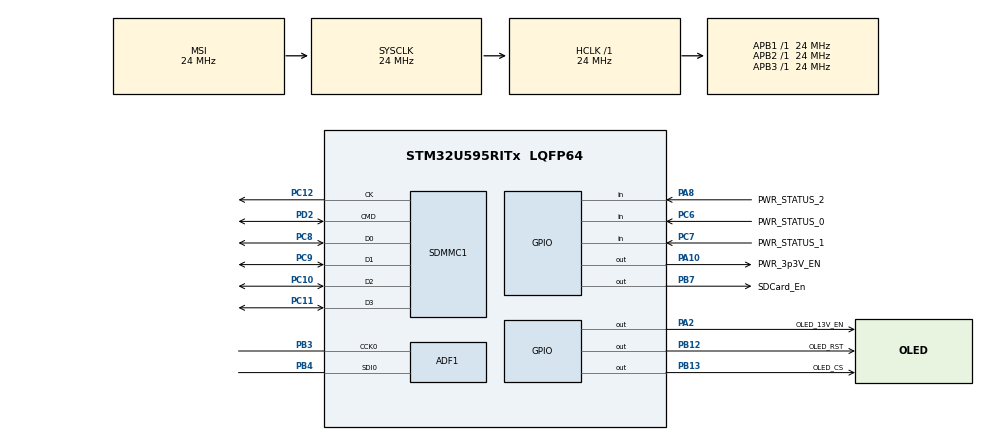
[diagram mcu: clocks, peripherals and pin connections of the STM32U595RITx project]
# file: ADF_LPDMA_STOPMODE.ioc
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ADF1.MDF_COMPARAM_ActivationOutputClock=ENABLE
ADF1.MDF_COMPARAM_Divider=2
ADF1.MDF_DFLT0_CIC_Mode=MDF_ONE_FILTER_SINC5
ADF1.MDF_DFLT0_Decimation=24
ADF1.MDF_DFLT0_Gain=8
ADF1.MDF_DFLT0_HighPassFilterActivation=ENABLE
ADF1.MDF_DFLT0_ReshapeFilterActivation=ENABLE
ADF1.MDF_SITF0_Mode_Display=MDF_SITF_NORMAL_SPI_MODE
ADF1.MDF_SITF0_Threshold=31
CORTEX_M33_NS.userName=CORTEX_M33
LPDMA1.LINKEDLISTMODE_LPDMACH0=DMA_LINKEDLIST_CIRCULAR
LPDMA1.PRIORITY_LL_LPDMACH0=DMA_LOW_PRIORITY_HIGH_WEIGHT
Linkedlist.MDMA_Channel0.GP_SW.0.BlkHWRequest=DMA_BREQ_SINGLE_BURST
Linkedlist.MDMA_Channel0.GP_SW.0.DataHandling=NONE
Linkedlist.MDMA_Channel0.GP_SW.0.DataSize=0
Linkedlist.MDMA_Channel0.GP_SW.0.DestDataWidth=DMA_DEST_DATAWIDTH_HALFWORD
Linkedlist.MDMA_Channel0.GP_SW.0.DestInc=DMA_DINC_INCREMENTED
Linkedlist.MDMA_Channel0.GP_SW.0.Direction=DMA_PERIPH_TO_MEMORY
Linkedlist.MDMA_Channel0.GP_SW.0.DstAddress=0
Linkedlist.MDMA_Channel0.GP_SW.0.Instance=MDMA_Channel0
Linkedlist.MDMA_Channel0.GP_SW.0.LL_CIRCULARNODE=MDFNode
Linkedlist.MDMA_Channel0.GP_SW.0.LL_MASTERDMA=LPDMA
Linkedlist.MDMA_Channel0.GP_SW.0.LL_NAME=MDFQueue
Linkedlist.MDMA_Channel0.GP_SW.0.LL_TYPE=CIRCULAR
Linkedlist.MDMA_Channel0.GP_SW.0.NODE_NAME=MDFNode
Linkedlist.MDMA_Channel0.GP_SW.0.Requestforcodegen=LPDMA1_REQUEST_ADF1_FLT0
Linkedlist.MDMA_Channel0.GP_SW.0.SrcAddress=0
Linkedlist.MDMA_Channel0.GP_SW.0.SrcDataWidth=DMA_SRC_DATAWIDTH_HALFWORD
Linkedlist.MDMA_Channel0.GP_SW.0.SrcInc=DMA_SINC_FIXED
Linkedlist.MDMA_Channel0.GP_SW.0.TransferEventMode=DMA_TCEM_BLOCK_TRANSFER
Linkedlist.MDMA_Channel0.GP_SW.0.TriggerPolarity=DMA_TRIG_POLARITY_MASKED
Linkedlist.MDMA_Channel0.Request0=GP_SW
Linkedlist.MDMA_Channel0.RequestsNb=1
Linkedlist.RequestSet0=MDMA_Channel0
Linkedlist.RequestSetsNb=1
Mcu.Family=STM32U5
Mcu.Name=STM32U595RITx
Mcu.Package=LQFP64
NVIC.ADF1_IRQn=true\:0\:0\:false\:false\:true\:true\:true\:true
NVIC.LPDMA1_Channel0_IRQn=true\:0\:0\:false\:false\:true\:false\:true\:true
NVIC.PriorityGroup=NVIC_PRIORITYGROUP_4
NVIC.SDMMC1_IRQn=true\:0\:0\:false\:false\:true\:true\:true\:true
PA10.GPIO_Label=PWR_3p3V_EN
PA10.PinState=GPIO_PIN_SET
PA10.Signal=GPIO_Output
PA13\ (JTMS/SWDIO).Mode=Serial_Wire
PA13\ (JTMS/SWDIO).Signal=DEBUG_JTMS-SWDIO
PA14\ (JTCK/SWCLK).Mode=Serial_Wire
PA14\ (JTCK/SWCLK).Signal=DEBUG_JTCK-SWCLK
PA2.GPIO_Label=OLED_13V_EN
PA2.Signal=GPIO_Output
PA8.GPIO_Label=PWR_STATUS_2
PA8.Signal=GPIO_Input
PB12.GPIO_Label=OLED_RST
PB12.Signal=GPIO_Output
PB13.GPIO_Label=OLED_CS
PB13.Signal=GPIO_Output
PB3\ (JTDO/TRACESWO).Mode=MOD_MDF_CCK0
PB3\ (JTDO/TRACESWO).Signal=ADF1_CCK0
PB4\ (NJTRST).Mode=MOD_ADF_CCK
PB4\ (NJTRST).Signal=ADF1_SDI0
PB7.GPIO_Label=SDCard_En
PB7.PinState=GPIO_PIN_SET
PB7.Signal=GPIO_Output
PC10.Mode=SD_4_bits_Wide_bus
PC10.Signal=SDMMC1_D2
PC11.Mode=SD_4_bits_Wide_bus
PC11.Signal=SDMMC1_D3
PC12.Mode=SD_4_bits_Wide_bus
PC12.Signal=SDMMC1_CK
PC14-OSC32_IN\ (PC14).Mode=LSE-External-Oscillator
PC14-OSC32_IN\ (PC14).Signal=RCC_OSC32_IN
PC15-OSC32_OUT\ (PC15).Mode=LSE-External-Oscillator
PC15-OSC32_OUT\ (PC15).Signal=RCC_OSC32_OUT
PC6.GPIO_Label=PWR_STATUS_0
PC6.Signal=GPIO_Input
PC7.GPIO_Label=PWR_STATUS_1
PC7.Signal=GPIO_Input
PC8.Mode=SD_4_bits_Wide_bus
PC8.Signal=SDMMC1_D0
PC9.Mode=SD_4_bits_Wide_bus
PC9.Signal=SDMMC1_D1
PD2.Mode=SD_4_bits_Wide_bus
PD2.Signal=SDMMC1_CMD
ProjectManager.HeapSize=0x2000
ProjectManager.StackSize=0x2000
ProjectManager.TargetToolchain=STM32CubeIDE
RCC.ADCFreq_Value=16000000
RCC.AHBFreq_Value=24000000
RCC.APB1Freq_Value=24000000
RCC.APB1TimFreq_Value=24000000
RCC.APB2Freq_Value=24000000
RCC.APB2TimFreq_Value=24000000
RCC.APB3Freq_Value=24000000
RCC.AdfClockSelection=RCC_ADF1CLKSOURCE_MSIK
RCC.CortexFreq_Value=24000000
RCC.EPOD_VALUE=24000000
RCC.HCLKFreq_Value=24000000
RCC.HSE_VALUE=16000000
RCC.HSI48_VALUE=48000000
RCC.HSI_VALUE=16000000
RCC.LSIDIV_VALUE=32000
RCC.MSIClockRange=RCC_MSIRANGE_1
RCC.MSIKClockRange=RCC_MSIKRANGE_8
RCC.MSI_VALUE=24000000
RCC.PLL1P=10
RCC.PLLM=2
RCC.PLLN=14
RCC.SYSCLKFreq_VALUE=24000000
RCC.VCOOutputFreq_Value=168000000
RCC.VDD_VALUE=1.8
SDMMC1.ClockDiv=5
VP_ICACHE_VS_ICACHE.Mode=DirectMappedCache
VP_LPBAMQUEUE_VS_QUEUE.Mode=QUEUEMODE
VP_LPBAM_VS_SIG1.Mode=SmartRun
VP_LPBAM_VS_SIG4.Mode=LPDMA1
VP_LPDMA1_VS_LPDMACH0.Mode=LINKEDLIST_LPDMACH0
VP_MEMORYMAP_VS_MEMORYMAP.Mode=CurAppReg
VP_PWR_VS_DBSignals.Mode=DisableDeadBatterySignals
VP_PWR_VS_LPOM.Mode=PowerOptimisation
VP_PWR_VS_SECSignals.Mode=Security/Privilege
VP_RCC_LSE.Mode=CRS SYNC Source LSE
board=custom

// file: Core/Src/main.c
/* USER CODE BEGIN Header */
/**
  ******************************************************************************
  * @file           : main.c
  * @brief          : Main program body
  ******************************************************************************
  * @attention
  *
  * Copyright (c) 2025 STMicroelectronics.
  * All rights reserved.
  *
  * This software is licensed under terms that can be found in the LICENSE file
  * in the root directory of this software component.
  * If no LICENSE file comes with this software, it is provided AS-IS.
  *
  ******************************************************************************
  */
/* USER CODE END Header */
#include "main.h"
#include "mdf.h"
#include "icache.h"
#include "lpdma.h"
#include "memorymap.h"
#include "sdmmc.h"
#include "gpio.h"

/* USER CODE BEGIN Includes */
#include "fatfs.h"
#include "linked_list.h"
/* USER CODE END Includes */

/* USER CODE BEGIN PTD */
extern SD_HandleTypeDef hsd1;
static char SD_Path[4];
static FATFS SDDISKFatFs;

uint32_t byteswritten;
FRESULT FatFsResult;

MDF_DmaConfigTypeDef         DMAConfig;

/*Buffer location and size should aligned to cache line size (32 bytes) */
__attribute__((section(".sram4"))) static uint16_t RecBuff[REC_BUFF_SIZE * 2U] = {0};
//int16_t        RecBuff[REC_BUFF_SIZE * 2U];
__IO uint32_t  DmaRecHalfBuffCplt  = 0;
__IO uint32_t  DmaRecBuffCplt      = 0;
uint32_t       PlaybackStarted         = 0;

__IO int16_t UpdatePointer = -1;
/* USER CODE END PTD */

/* USER CODE BEGIN PV */
static void MX_GPDMA1_DeInit(void);
/* USER CODE END PV */

void SystemClock_Config(void);
static void SystemPower_Config(void);
/* USER CODE BEGIN PFP */
void Error(void);
/* USER CODE END PFP */

/* USER CODE BEGIN 0 */
static void MDF_DMAConfig(void);
static void EnterLowPowerMode(void);
void Error(void);

extern DMA_QListTypeDef MDFQueue;
/* USER CODE END 0 */

int main(void)
{

  /* USER CODE BEGIN 1 */
	  FRESULT ReturnResult;
	  FIL MyFile;

	  int numberOfWrites = 128;
  /* USER CODE END 1 */

  /* MCU Configuration--------------------------------------------------------*/

  /* Reset of all peripherals, Initializes the Flash interface and the Systick. */
  HAL_Init();

  /* Configure the System Power */
  SystemPower_Config();

  /* Configure the system clock */
  SystemClock_Config();

  /* Initialize all configured peripherals */
  MX_GPIO_Init();
  MX_LPDMA1_Init();
  MX_ADF1_Init();
  MX_SDMMC1_SD_Init();
  MX_ICACHE_Init();
  /* USER CODE BEGIN 2 */

  HAL_DBGMCU_EnableDBGStopMode();

  FATFS_LinkDriver(&SD_Driver, SD_Path);

    ReturnResult = f_mount(&SDDISKFatFs, (TCHAR const*)SD_Path, 1);
    if(ReturnResult != FR_OK)
    {
      Error_Handler();
    }

    ReturnResult = f_open(&MyFile, "NewAudio1.raw", FA_CREATE_ALWAYS | FA_WRITE);
    if(ReturnResult != FR_OK)
    {
      Error_Handler();
    }

    MX_MDFQueue_Config();

    /* Link SAI queue to DMA channel */
    HAL_DMAEx_List_LinkQ(&handle_LPDMA1_Channel0, &MDFQueue);

    /* Associate the DMA handle */
    __HAL_LINKDMA(&AdfHandle0, hdma, handle_LPDMA1_Channel0);

    MDF_DMAConfig();

    if (HAL_MDF_AcqStart_DMA(&AdfHandle0, &AdfFilterConfig0, &DMAConfig) != HAL_OK)
    {
      Error();
    }

    HAL_PWREx_ConfigSRDDomain(PWR_SRD_DOMAIN_RUN);

    while (1)
      {
    	EnterLowPowerMode();
        //__HAL_RCC_ADF1_CLKAM_ENABLE(); //ADF1 autonomous mode enable in Stop 0/1/2 mode
       // __HAL_RCC_LPDMA1_CLKAM_ENABLE();
    	/*
        __HAL_RCC_PWR_CLK_ENABLE();
        __HAL_RCC_MSIKSTOP_ENABLE();
        __HAL_RCC_HSISTOP_ENABLE();
        __HAL_RCC_SDMMC1_CLK_DISABLE();
        */
        //HAL_PWREx_ConfigSRDDomain(PWR_SRD_DOMAIN_RUN);

    	//HAL_SuspendTick();
    	//HAL_PWREx_EnterSTOP1Mode(PWR_STOPENTRY_WFI);
    	//HAL_PWR_EnterSLEEPMode(PWR_LOWPOWERREGULATOR_ON, PWR_SLEEPENTRY_WFI);
    	//HAL_ResumeTick();

    	/*
    	if (__HAL_PWR_GET_FLAG(PWR_FLAG_STOPF) == 0U)
		{
		  Error_Handler();
		}

		__HAL_PWR_CLEAR_FLAG(PWR_FLAG_STOPF);

		if (__HAL_PWR_GET_FLAG(PWR_FLAG_STOPF) != 0U)
		{
		  Error_Handler();
		}

    	__HAL_RCC_HSI_ENABLE();
		__HAL_RCC_PLL_ENABLE();
		__HAL_RCC_PLLCLKOUT_ENABLE(RCC_PLL1_DIVP);

		__HAL_RCC_SDMMC1_CLK_ENABLE();
		__HAL_RCC_GPIOC_CLK_ENABLE();
		__HAL_RCC_GPIOD_CLK_ENABLE();
*/
        if(DmaRecHalfBuffCplt == 1)
        {
          FatFsResult = f_write(&MyFile, &RecBuff[0], (UINT)((REC_BUFF_SIZE_DIV2 - 1) * 2), (void *)&byteswritten);
          if(FatFsResult != FR_OK)
          {
            Error();
          }
          DmaRecHalfBuffCplt  = 0;
        }

        if(DmaRecBuffCplt == 1)
        {
          FatFsResult = f_write(&MyFile, &RecBuff[REC_BUFF_SIZE_DIV2], (UINT)(REC_BUFF_SIZE_DIV2 * 2), (void *)&byteswritten);
          if(FatFsResult != FR_OK)
          {
            Error();
          }
          numberOfWrites--;
          DmaRecBuffCplt = 0;
        }

        if(numberOfWrites == 0)
        {
          HAL_MDF_AcqStop_DMA(&AdfHandle0);
          f_close(&MyFile);
          break;
        }
      }

      HAL_MDF_DeInit(&AdfHandle0);
      MX_GPDMA1_DeInit();

      __HAL_RCC_SDMMC1_CLK_DISABLE();
      /*__HAL_RCC_SDMMC1_CLK_ENABLE();

      MX_LPDMA1_Init();
      MX_ADF1_Init();

      ReturnResult = f_open(&MyFile, "NewAudio2.raw", FA_CREATE_ALWAYS | FA_WRITE);
      if(ReturnResult != FR_OK)
      {
        Error();
      }

      if (HAL_MDF_AcqStart_DMA(&AdfHandle0, &AdfFilterConfig0, &DMAConfig) != HAL_OK)
      {
        Error();
      }

      numberOfWrites = 50;

      while (1)
      {
        if(DmaRecHalfBuffCplt == 1)
        {
          FatFsResult = f_write(&MyFile, &RecBuff[REC_BUFF_SIZE], (UINT)(REC_BUFF_SIZE * 2U), (void *)&byteswritten);
          if(FatFsResult != FR_OK)
          {
            Error();
          }
          DmaRecHalfBuffCplt  = 0;
        }

        if(DmaRecBuffCplt == 1)
        {
          FatFsResult = f_write(&MyFile, &RecBuff[0], (UINT)(REC_BUFF_SIZE * 2U), (void *)&byteswritten);
          if(FatFsResult != FR_OK)
          {
            Error();
          }
          numberOfWrites--;
          DmaRecBuffCplt = 0;
        }

        if(numberOfWrites == 0)
        {
          HAL_MDF_AcqStop_DMA(&AdfHandle0);
          f_close(&MyFile);
          break;
        }
      }*/
  /* USER CODE END 2 */

  /* Infinite loop */
  while (1)
  {

  }
}

void SystemClock_Config(void)
{
  RCC_OscInitTypeDef RCC_OscInitStruct = {0};
  RCC_ClkInitTypeDef RCC_ClkInitStruct = {0};
  RCC_CRSInitTypeDef RCC_CRSInitStruct = {0};

  /** Configure the main internal regulator output voltage
  */
  if (HAL_PWREx_ControlVoltageScaling(PWR_REGULATOR_VOLTAGE_SCALE3) != HAL_OK)
  {
    Error_Handler();
  }

  /** Initializes the CPU, AHB and APB buses clocks
  */
  RCC_OscInitStruct.OscillatorType = RCC_OSCILLATORTYPE_HSI48|RCC_OSCILLATORTYPE_MSI
                              |RCC_OSCILLATORTYPE_MSIK;
  RCC_OscInitStruct.HSI48State = RCC_HSI48_ON;
  RCC_OscInitStruct.MSIState = RCC_MSI_ON;
  RCC_OscInitStruct.MSICalibrationValue = RCC_MSICALIBRATION_DEFAULT;
  RCC_OscInitStruct.MSIClockRange = RCC_MSIRANGE_1;
  RCC_OscInitStruct.MSIKClockRange = RCC_MSIKRANGE_8;
  RCC_OscInitStruct.MSIKState = RCC_MSIK_ON;
  RCC_OscInitStruct.PLL.PLLState = RCC_PLL_ON;
  RCC_OscInitStruct.PLL.PLLSource = RCC_PLLSOURCE_MSI;
  RCC_OscInitStruct.PLL.PLLMBOOST = RCC_PLLMBOOST_DIV2;
  RCC_OscInitStruct.PLL.PLLM = 2;
  RCC_OscInitStruct.PLL.PLLN = 14;
  RCC_OscInitStruct.PLL.PLLP = 10;
  RCC_OscInitStruct.PLL.PLLQ = 2;
  RCC_OscInitStruct.PLL.PLLR = 2;
  RCC_OscInitStruct.PLL.PLLRGE = RCC_PLLVCIRANGE_1;
  RCC_OscInitStruct.PLL.PLLFRACN = 0;
  if (HAL_RCC_OscConfig(&RCC_OscInitStruct) != HAL_OK)
  {
    Error_Handler();
  }

  /** Initializes the CPU, AHB and APB buses clocks
  */
  RCC_ClkInitStruct.ClockType = RCC_CLOCKTYPE_HCLK|RCC_CLOCKTYPE_SYSCLK
                              |RCC_CLOCKTYPE_PCLK1|RCC_CLOCKTYPE_PCLK2
                              |RCC_CLOCKTYPE_PCLK3;
  RCC_ClkInitStruct.SYSCLKSource = RCC_SYSCLKSOURCE_MSI;
  RCC_ClkInitStruct.AHBCLKDivider = RCC_SYSCLK_DIV1;
  RCC_ClkInitStruct.APB1CLKDivider = RCC_HCLK_DIV1;
  RCC_ClkInitStruct.APB2CLKDivider = RCC_HCLK_DIV1;
  RCC_ClkInitStruct.APB3CLKDivider = RCC_HCLK_DIV1;

  if (HAL_RCC_ClockConfig(&RCC_ClkInitStruct, FLASH_LATENCY_0) != HAL_OK)
  {
    Error_Handler();
  }

  /** Enable the SYSCFG APB clock
  */
  __HAL_RCC_CRS_CLK_ENABLE();

  /** Configures CRS
  */
  RCC_CRSInitStruct.Prescaler = RCC_CRS_SYNC_DIV1;
  RCC_CRSInitStruct.Source = RCC_CRS_SYNC_SOURCE_LSE;
  RCC_CRSInitStruct.Polarity = RCC_CRS_SYNC_POLARITY_RISING;
  RCC_CRSInitStruct.ReloadValue = __HAL_RCC_CRS_RELOADVALUE_CALCULATE(48000000,32768);
  RCC_CRSInitStruct.ErrorLimitValue = 34;
  RCC_CRSInitStruct.HSI48CalibrationValue = 32;

  HAL_RCCEx_CRSConfig(&RCC_CRSInitStruct);
}

/**
  * @brief Power Configuration
  * @retval None
  */
static void SystemPower_Config(void)
{

  /*
   * Disable the internal Pull-Up in Dead Battery pins of UCPD peripheral
   */
  HAL_PWREx_DisableUCPDDeadBattery();
}

/* USER CODE BEGIN 4 */
static void MX_GPDMA1_DeInit(void)
{

  /* USER CODE BEGIN GPDMA1_Init 0 */

  /* USER CODE END GPDMA1_Init 0 */

  /* Peripheral clock enable */
  //__HAL_RCC_GPDMA1_CLK_DISABLE();

  /* GPDMA1 interrupt Init */

    //HAL_NVIC_DisableIRQ(GPDMA1_Channel11_IRQn);

  /* USER CODE BEGIN GPDMA1_Init 1 */

  /* USER CODE END GPDMA1_Init 1 */
  /* USER CODE BEGIN GPDMA1_Init 2 */

  /* USER CODE END GPDMA1_Init 2 */

}

void HAL_MDF_AcqHalfCpltCallback(MDF_HandleTypeDef *hmdf)
{
    DmaRecHalfBuffCplt = 1;
}

/**
  * @brief  Regular conversion complete callback.
  * @note   In interrupt mode, user has to read conversion value in this function
            using HAL_MDF_GetAcqValue.
  * @param  hmdf : MDF handle.
  * @retval None
  */
void HAL_MDF_AcqCpltCallback(MDF_HandleTypeDef *hmdf)
{
    DmaRecBuffCplt = 1;
}

static void MDF_DMAConfig(void)
{
  /* Initialize DMA configuration parameters */
  DMAConfig.Address                              = (uint32_t)&RecBuff[0];
  DMAConfig.DataLength                           = (REC_BUFF_SIZE * 2U);
  DMAConfig.MsbOnly                              = ENABLE;
}

void Error(void)
{
  while(1);
}

static void EnterLowPowerMode(void)
{
    /* Enable Power Control clock */
  __HAL_RCC_PWR_CLK_ENABLE();

  /* Enter the system to STOP2 mode */
  HAL_PWREx_EnterSTOP2Mode(PWR_STOPENTRY_WFI);
}
/* USER CODE END 4 */

void Error_Handler(void)
{
  __disable_irq();
  while (1)
  {
  }
}
